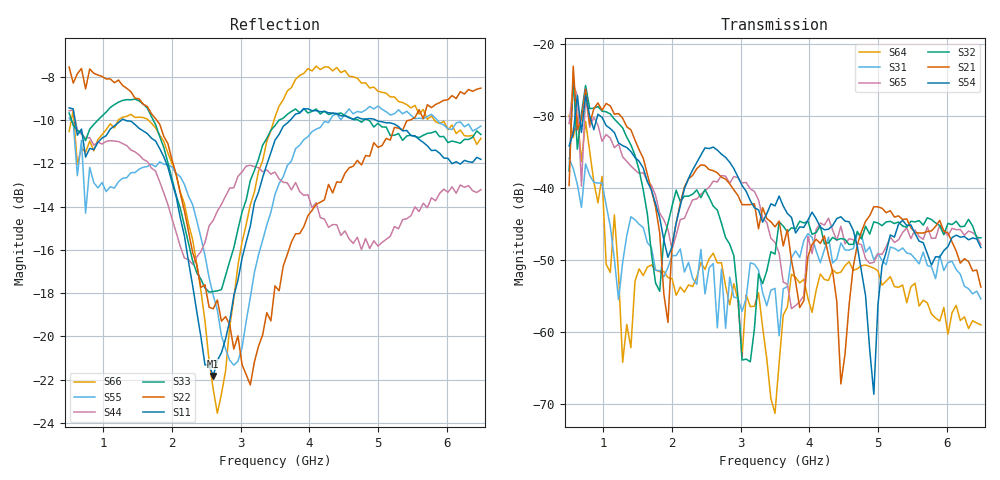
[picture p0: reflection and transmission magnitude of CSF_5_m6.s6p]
!Keysight Technologies,M9804A,MY58100912,A.14.10.03
!Date: Thursday, April 27, 2023 10:28:33
!Correction: S11(C  6-Port  )
!S12(C  6-Port  )
!S13(C  6-Port  )
!S14(C  6-Port  )
!S15(C  6-Port  )
!S16(C  6-Port  )
!S21(C  6-Port  )
!S22(C  6-Port  )
!S23(C  6-Port  )
!S24(C  6-Port  )
!S25(C  6-Port  )
!S26(C  6-Port  )
!S31(C  6-Port  )
!S32(C  6-Port  )
!S33(C  6-Port  )
!S34(C  6-Port  )
!S35(C  6-Port  )
!S36(C  6-Port  )
!S41(C  6-Port  )
!S42(C  6-Port  )
!S43(C  6-Port  )
!S44(C  6-Port  )
!S45(C  6-Port  )
!S46(C  6-Port  )
!S51(C  6-Port  )
!S52(C  6-Port  )
!S53(C  6-Port  )
!S54(C  6-Port  )
!S55(C  6-Port  )
!S56(C  6-Port  )
!S61(C  6-Port  )
!S62(C  6-Port  )
!S63(C  6-Port  )
!S64(C  6-Port  )
!S65(C  6-Port  )
!S66(C  6-Port  )
!S6P File: Measurement: :
# Hz S  RI  R 50
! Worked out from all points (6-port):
!   101 points, 500 MHz to 6.5 GHz, reference 50 ohm
!   strongest paths, dB at 500 MHz, 2 GHz, 3.5 GHz, 5 GHz, 6.5 GHz:
!     S54: -34.2, -48.2, -42.5, -56.2, -48.3
!     S21: -39.7, -47.9, -45.4, -42.6, -53.8
!     S32: -37.6, -42.5, -49.2, -44.9, -46.9
!     S65: -31.1, -48.5, -47.6, -49.2, -47.9
!     S31: -35.9, -49.4, -54.0, -49.1, -55.4
!     S64: -30.0, -52.6, -71.3, -51.5, -59.0
!   lowest |S11| = -21.8 dB at 2.6 GHz (marker M1), VSWR 1.18, Z = 42.7 + j1.97 ohm
!   |S11| at or under -10 dB: 585.3 MHz to 1.264 GHz (678.6 MHz wide, 73.4 % of centre); 1.312 GHz to 3.724 GHz (2.412 GHz wide, 95.8 % of centre); 4.968 GHz to end of sweep
